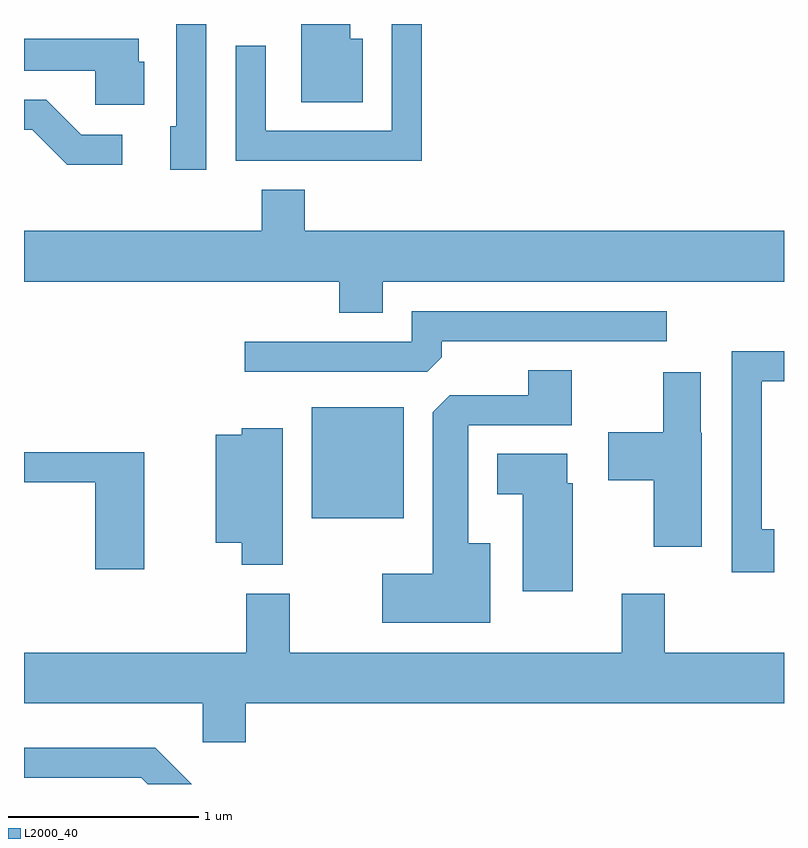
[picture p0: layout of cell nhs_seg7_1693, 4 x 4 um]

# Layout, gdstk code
import gdstk
lib = gdstk.Library(unit=1e-6, precision=1e-09)
def R(c, l, rs):  # rectangles x0, y0, x1, y1
    for r in rs: c.add(gdstk.rectangle(r[:2], r[2:], *l))
def P(c, l, *ps):  # polygons
    for p in ps: c.add(gdstk.Polygon(p, *l))
L2000_40 = (2000, 40)

nhs_seg7_1693 = lib.new_cell('nhs_seg7_1693')
R(nhs_seg7_1693, L2000_40, [(237.126,1799.651,237.609,1800.234)])
P(nhs_seg7_1693, L2000_40, [(236.569,1802.252),(236.411,1802.252),(236.411,1801.714),(236.381,1801.714),(236.381,1801.486),(236.569,1801.486)],
  [(237.394,1802.174),(237.329,1802.174),(237.329,1802.252),(237.071,1802.252),(237.071,1801.841),(237.394,1801.841)],
  [(237.704,1802.252),(237.546,1802.252),(237.546,1801.689),(236.884,1801.689),(236.884,1802.138),(236.726,1802.138),(236.726,1801.531),(237.704,1801.531)],
  [(236.244,1802.054),(236.214,1802.054),(236.214,1802.174),(235.611,1802.174),(235.611,1802.006),(235.986,1802.006),(235.986,1801.826),(236.244,1801.826)],
  [(236.128,1801.669),(235.912,1801.669),(235.727,1801.854),(235.611,1801.854),(235.611,1801.696),(235.654,1801.696),(235.839,1801.511),(236.128,1801.511)],
  [(237.499,1800.896),(239.611,1800.896),(239.611,1801.164),(237.089,1801.164),(237.089,1801.379),(236.861,1801.379),(236.861,1801.164),(235.611,1801.164),(235.611,1800.896),(237.271,1800.896),(237.271,1800.731),(237.499,1800.731)],
  [(237.809,1800.497),(237.809,1800.581),(238.993,1800.581),(238.993,1800.739),(237.651,1800.739),(237.651,1800.579),(236.773,1800.579),(236.773,1800.421),(237.734,1800.421)],
  [(239.559,1799.594),(239.494,1799.594),(239.494,1800.371),(239.611,1800.371),(239.611,1800.529),(239.336,1800.529),(239.336,1799.366),(239.559,1799.366)],
  [(238.064,1799.519),(237.949,1799.519),(237.949,1800.141),(238.494,1800.141),(238.494,1800.429),(238.266,1800.429),(238.266,1800.299),(237.852,1800.299),(237.761,1800.209),(237.761,1799.359),(237.496,1799.359),(237.496,1799.101),(238.064,1799.101)],
  [(239.179,1800.1),(239.174,1800.1),(239.174,1800.419),(238.976,1800.419),(238.976,1800.104),(238.686,1800.104),(238.686,1799.851),(238.926,1799.851),(238.926,1799.501),(239.179,1799.501)],
  [(236.974,1800.124),(236.756,1800.124),(236.756,1800.089),(236.621,1800.089),(236.621,1799.521),(236.756,1799.521),(236.756,1799.406),(236.974,1799.406)],
  [(236.244,1799.999),(235.611,1799.999),(235.611,1799.841),(235.986,1799.841),(235.986,1799.381),(236.244,1799.381)],
  [(238.499,1799.834),(238.469,1799.834),(238.469,1799.989),(238.101,1799.989),(238.101,1799.776),(238.236,1799.776),(238.236,1799.266),(238.499,1799.266)],
  [(236.779,1798.676),(239.611,1798.676),(239.611,1798.944),(238.984,1798.944),(238.984,1799.254),(238.756,1799.254),(238.756,1798.944),(237.009,1798.944),(237.009,1799.254),(236.781,1799.254),(236.781,1798.944),(235.611,1798.944),(235.611,1798.676),(236.551,1798.676),(236.551,1798.471),(236.779,1798.471)],
  [(236.302,1798.444),(235.611,1798.444),(235.611,1798.286),(236.229,1798.286),(236.263,1798.252),(236.494,1798.252)])

lib.write_gds('nhs_seg7_1693.gds')
